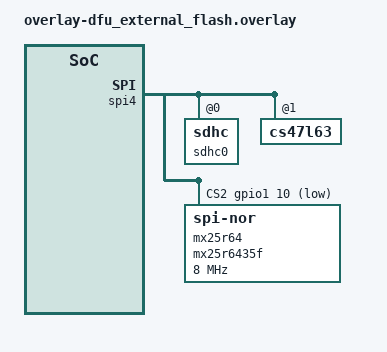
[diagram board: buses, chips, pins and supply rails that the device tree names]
/ {
	chosen {
		nordic,pm-ext-flash = &mx25r64;
	};
};

&qspi {
	status = "disabled";
};

&spi4 {
	cs-gpios = <&gpio0 11 GPIO_ACTIVE_LOW>, <&gpio0 17 GPIO_ACTIVE_LOW>, < &gpio1 10 GPIO_ACTIVE_LOW >;
	status = "okay";
	sdhc0: sdhc@0 {
		status = "okay";
	};
	cs47l63: cs47l63@1 {
		status = "okay";
	};
	mx25r64: mx25r6435f@2 {

		compatible = "jedec,spi-nor";
		reg = <2>;
		spi-max-frequency = <8000000>;

		jedec-id = [c2 28 17];
		sfdp-bfp = [
			e5 20 f1 ff  ff ff ff 03  44 eb 08 6b  08 3b 04 bb
			ee ff ff ff  ff ff 00 ff  ff ff 00 ff  0c 20 0f 52
			10 d8 00 ff  23 72 f5 00  82 ed 04 cc  44 83 68 44
			30 b0 30 b0  f7 c4 d5 5c  00 be 29 ff  f0 d0 ff ff
		];
		size = <67108864>;
		has-dpd;
		t-enter-dpd = <10000>;
		t-exit-dpd = <5000>;
		dpd-wakeup-sequence = <30000 20 45000>;
	};
};

&gpio_fwd {
	uart {
		gpios = < &gpio1 0x9 0x0 >, < &gpio1 0x8 0x0 >, < &gpio1 0xb 0x0 >;
	};
};
